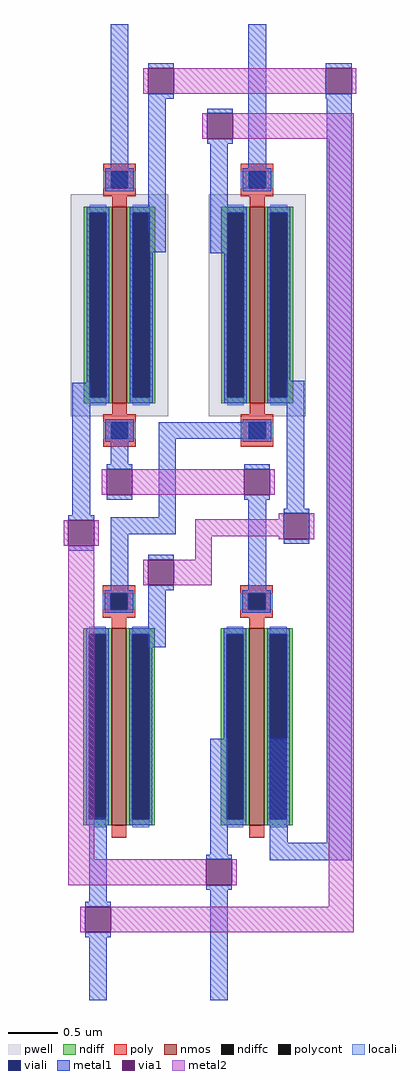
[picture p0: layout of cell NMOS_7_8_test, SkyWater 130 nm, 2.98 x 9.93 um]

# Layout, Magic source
magic
tech sky130B
magscale 1 2
<< metal1 >>
rect 1382 -4362 1418 -4028
rect 1458 -4118 1510 -4108
rect 1458 -4180 1510 -4170
rect 1458 -4450 1494 -4180
rect 1578 -4210 1630 -4200
rect 1578 -4272 1630 -4262
rect 1460 -4492 1494 -4450
rect 1584 -4494 1620 -4272
rect 1662 -4362 1698 -4028
rect 1820 -4118 1872 -4108
rect 1820 -4180 1872 -4170
rect 1304 -5028 1340 -4758
rect 1382 -4924 1418 -4838
rect 1480 -4872 1698 -4838
rect 1374 -4934 1426 -4924
rect 1374 -4996 1426 -4986
rect 1296 -5038 1348 -5028
rect 1480 -5032 1514 -4872
rect 1654 -4934 1706 -4924
rect 1654 -4996 1706 -4986
rect 1296 -5100 1348 -5090
rect 1382 -5066 1514 -5032
rect 1382 -5184 1418 -5066
rect 1458 -5118 1510 -5108
rect 1458 -5180 1510 -5170
rect 1458 -5296 1494 -5180
rect 1662 -5182 1698 -4996
rect 1740 -5014 1776 -4754
rect 1734 -5024 1786 -5014
rect 1734 -5086 1786 -5076
rect 1338 -5814 1374 -5642
rect 1584 -5718 1620 -5482
rect 1706 -5694 1742 -5482
rect 1822 -5694 1872 -4180
rect 1576 -5728 1628 -5718
rect 1706 -5730 1872 -5694
rect 1576 -5790 1628 -5780
rect 1330 -5824 1382 -5814
rect 1330 -5886 1382 -5876
rect 1338 -6014 1374 -5886
rect 1584 -6014 1620 -5790
<< via1 >>
rect 1458 -4170 1510 -4118
rect 1578 -4262 1630 -4210
rect 1820 -4170 1872 -4118
rect 1374 -4986 1426 -4934
rect 1654 -4986 1706 -4934
rect 1296 -5090 1348 -5038
rect 1458 -5170 1510 -5118
rect 1734 -5076 1786 -5024
rect 1576 -5780 1628 -5728
rect 1330 -5876 1382 -5824
<< metal2 >>
rect 1448 -4170 1458 -4118
rect 1510 -4170 1820 -4118
rect 1872 -4170 1882 -4118
rect 1568 -4262 1578 -4210
rect 1630 -4262 1876 -4210
rect 1364 -4986 1374 -4934
rect 1426 -4986 1654 -4934
rect 1706 -4986 1716 -4934
rect 1724 -5036 1734 -5024
rect 1286 -5090 1296 -5038
rect 1348 -5090 1358 -5038
rect 1554 -5070 1734 -5036
rect 1296 -5728 1348 -5090
rect 1554 -5118 1588 -5070
rect 1724 -5076 1734 -5070
rect 1786 -5076 1796 -5024
rect 1448 -5170 1458 -5118
rect 1510 -5170 1588 -5118
rect 1296 -5780 1576 -5728
rect 1628 -5780 1638 -5728
rect 1826 -5824 1876 -4262
rect 1320 -5876 1330 -5824
rect 1382 -5876 1876 -5824
use sky130_fd_pr__nfet_01v8_PHZV97  xm45
transform 1 0 1400 0 1 -4600
box -73 -288 73 288
use sky130_fd_pr__nfet_01v8_PHZV97  xm46
transform 1 0 1680 0 1 -4600
box -73 -288 73 288
use sky130_fd_pr__nfet_01v8_72KZQ8  xm47
transform 1 0 1399 0 1 -5427
box -73 -257 73 257
use sky130_fd_pr__nfet_01v8_72KZQ8  xm48
transform 1 0 1679 0 1 -5427
box -73 -257 73 257
<< end >>

# cell sky130_fd_pr__nfet_01v8_PHZV97: kit device sky130_fd_pr__nfet_01v8, w 2 l 0.15 m 1 nf 1 diffcov 100 polycov 100 guard 0 glc 1 grc 1 gtc 1 gbc 1 tbcov 100 rlcov 100 topc 1 botc 1 poverlap 0 doverlap 1 lmin 0.15 wmin 0.42 class mosfet compatible {sky130_fd_pr__nfet_01v8 sky130_fd_pr__nfet_01v8_lvt sky130_fd_bs_flash__special_sonosfet_star sky130_fd_pr__nfet_g5v0d10v5 sky130_fd_pr__nfet_05v0_nvt sky130_fd_pr__nfet_03v3_nvt} full_metal 0 viasrc 100 viadrn 100 viagate 100 viagb 0 viagr 0 viagl 0 viagt 0

# cell sky130_fd_pr__nfet_01v8_72KZQ8: kit device sky130_fd_pr__nfet_01v8, w 2 l 0.150 m 1 nf 1 diffcov 100 polycov 100 guard 0 glc 1 grc 1 gtc 1 gbc 1 tbcov 100 rlcov 100 topc 1 botc 0 poverlap 0 doverlap 1 lmin 0.15 wmin 0.42 class mosfet compatible {sky130_fd_pr__nfet_01v8 sky130_fd_pr__nfet_01v8_lvt sky130_fd_bs_flash__special_sonosfet_star sky130_fd_pr__nfet_g5v0d10v5 sky130_fd_pr__nfet_05v0_nvt sky130_fd_pr__nfet_03v3_nvt} full_metal 0 viasrc 100 viadrn 100 viagate 100 viagb 0 viagr 0 viagl 0 viagt 0
